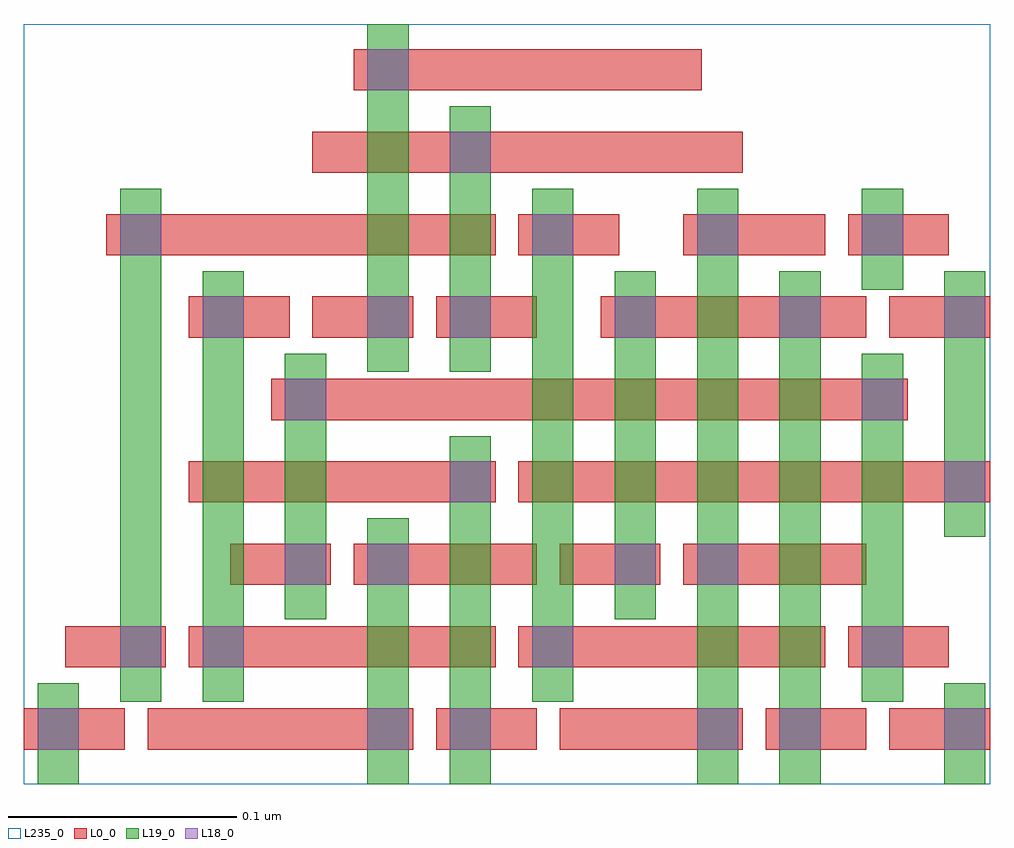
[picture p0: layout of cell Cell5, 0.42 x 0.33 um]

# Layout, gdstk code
import gdstk
lib = gdstk.Library(unit=1e-6, precision=2.5e-10)
def R(c, l, rs):  # rectangles x0, y0, x1, y1
    for r in rs: c.add(gdstk.rectangle(r[:2], r[2:], *l))
def A(c, l, x, y, w, h, nx, ny, dx, dy):  # array of equal rectangles
    R(c, l, [(x+i*dx, y+j*dy, x+i*dx+w, y+j*dy+h) for i in range(nx) for j in range(ny)])
L0_0 = (0, 0)
L18_0 = (18, 0)
L19_0 = (19, 0)
L235_0 = (235, 0)

cell5 = lib.new_cell('Cell5')
A(cell5, L0_0, 0.076, 0.179, 0.044, 0.018, 3, 1, 0.054, 0)
R(cell5, L0_0, [(0.004,-0.001,0.048,0.017), (0.058,-0.001,0.174,0.017), (0.184,-0.001,0.228,0.017), (0.238,-0.001,0.318,0.017), (0.328,-0.001,0.372,0.017), (0.382,-0.001,0.426,0.017), (0.022,0.035,0.066,0.053), (0.076,0.035,0.21,0.053), (0.22,0.035,0.354,0.053), (0.364,0.035,0.408,0.053), (0.094,0.071,0.138,0.089), (0.148,0.071,0.228,0.089), (0.238,0.071,0.282,0.089), (0.292,0.071,0.372,0.089), (0.076,0.107,0.21,0.125), (0.22,0.107,0.426,0.125), (0.112,0.143,0.39,0.161), (0.256,0.179,0.372,0.197), (0.382,0.179,0.426,0.197), (0.04,0.215,0.21,0.233), (0.22,0.215,0.264,0.233), (0.292,0.215,0.354,0.233), (0.364,0.215,0.408,0.233), (0.13,0.251,0.318,0.269), (0.148,0.287,0.3,0.305)])
A(cell5, L18_0, 0.082, 0.035, 0.018, 0.018, 3, 1, 0.144, 0)
A(cell5, L18_0, 0.154, 0.071, 0.018, 0.018, 1, 3, 0, 0.108)
A(cell5, L18_0, 0.19, 0.179, 0.018, 0.018, 4, 1, 0.072, 0)
A(cell5, L18_0, 0.226, 0.215, 0.018, 0.018, 3, 1, 0.072, 0)
R(cell5, L18_0, [(0.01,-0.001,0.028,0.017), (0.154,-0.001,0.172,0.017), (0.19,-0.001,0.208,0.017), (0.298,-0.001,0.316,0.017), (0.334,-0.001,0.352,0.017), (0.406,-0.001,0.424,0.017), (0.046,0.035,0.064,0.053), (0.118,0.071,0.136,0.089), (0.262,0.071,0.28,0.089), (0.298,0.071,0.316,0.089), (0.19,0.107,0.208,0.125), (0.406,0.107,0.424,0.125), (0.118,0.143,0.136,0.161), (0.37,0.143,0.388,0.161), (0.082,0.179,0.1,0.197), (0.046,0.215,0.064,0.233), (0.19,0.251,0.208,0.269)])
R(cell5, L19_0, [(0.01,-0.016,0.028,0.028), (0.154,-0.016,0.172,0.1), (0.19,-0.016,0.208,0.136), (0.298,-0.016,0.316,0.244), (0.334,-0.016,0.352,0.208), (0.406,-0.016,0.424,0.028), (0.046,0.02,0.064,0.244), (0.082,0.02,0.1,0.208), (0.226,0.02,0.244,0.244), (0.37,0.02,0.388,0.172), (0.118,0.056,0.136,0.172), (0.262,0.056,0.28,0.208), (0.406,0.092,0.424,0.208), (0.154,0.164,0.172,0.316), (0.19,0.164,0.208,0.28), (0.37,0.2,0.388,0.244)])
R(cell5, L235_0, [(0.004,-0.016,0.426,0.316)])

lib.write_gds('Cell5.gds')
